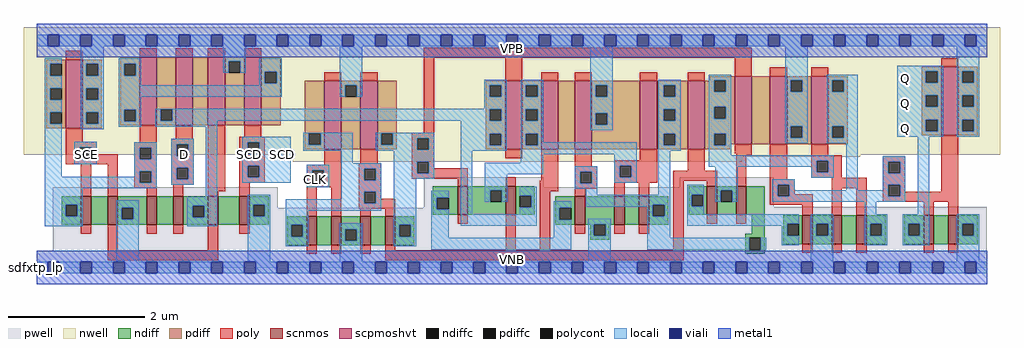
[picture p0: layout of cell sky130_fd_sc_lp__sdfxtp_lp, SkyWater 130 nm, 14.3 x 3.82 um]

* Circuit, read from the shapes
.subckt sky130_fd_sc_lp__sdfxtp_lp CLK D SCD SCE VGND VNB VPB VPWR Q
XM1 n1 SCE n2 VNB sky130_fd_pr__nfet_01v8 w=0.42 l=0.15
XM2 VGND SCE n1 VNB sky130_fd_pr__nfet_01v8 w=0.42 l=0.15
XM3 n3 n2 VGND VNB sky130_fd_pr__nfet_01v8 w=0.42 l=0.15
XM4 n4 D n3 VNB sky130_fd_pr__nfet_01v8 w=0.42 l=0.15
XM5 n5 SCE n4 VNB sky130_fd_pr__nfet_01v8 w=0.42 l=0.15
XM6 VGND SCD n5 VNB sky130_fd_pr__nfet_01v8 w=0.42 l=0.15
XM7 n6 CLK n7 VNB sky130_fd_pr__nfet_01v8 w=0.42 l=0.15
XM8 VGND CLK n6 VNB sky130_fd_pr__nfet_01v8 w=0.42 l=0.15
XM9 n8 n7 VGND VNB sky130_fd_pr__nfet_01v8 w=0.42 l=0.15
XM10 n9 n7 n8 VNB sky130_fd_pr__nfet_01v8 w=0.42 l=0.15
XM11 n10 n9 n11 VNB sky130_fd_pr__nfet_01v8 w=0.42 l=0.15
XM12 n4 n7 n10 VNB sky130_fd_pr__nfet_01v8 w=0.42 l=0.15
XM13 VGND n12 n11 VNB sky130_fd_pr__nfet_01v8 w=0.42 l=0.15
XM14 n13 n10 VGND VNB sky130_fd_pr__nfet_01v8 w=0.42 l=0.15
XM15 n12 n10 n13 VNB sky130_fd_pr__nfet_01v8 w=0.42 l=0.15
XM16 n14 n7 n15 VNB sky130_fd_pr__nfet_01v8 w=0.42 l=0.15
XM17 n12 n9 n14 VNB sky130_fd_pr__nfet_01v8 w=0.42 l=0.15
XM18 VGND n16 n15 VNB sky130_fd_pr__nfet_01v8 w=0.42 l=0.15
XM19 n17 n14 VGND VNB sky130_fd_pr__nfet_01v8 w=0.42 l=0.15
XM20 n16 n14 n17 VNB sky130_fd_pr__nfet_01v8 w=0.42 l=0.15
XM21 n18 n16 Q VNB sky130_fd_pr__nfet_01v8 w=0.42 l=0.15
XM22 VGND n16 n18 VNB sky130_fd_pr__nfet_01v8 w=0.42 l=0.15
XM23 VPWR SCE n2 VPB sky130_fd_pr__pfet_01v8_hvt w=1 l=0.25
XM24 n4 n2 n19 VPB sky130_fd_pr__pfet_01v8_hvt w=1 l=0.25
XM25 n20 D n4 VPB sky130_fd_pr__pfet_01v8_hvt w=1 l=0.25
XM26 VPWR SCE n20 VPB sky130_fd_pr__pfet_01v8_hvt w=1 l=0.25
XM27 n19 SCD VPWR VPB sky130_fd_pr__pfet_01v8_hvt w=1 l=0.25
XM28 VPWR CLK n7 VPB sky130_fd_pr__pfet_01v8_hvt w=1 l=0.25
XM29 n9 n7 VPWR VPB sky130_fd_pr__pfet_01v8_hvt w=1 l=0.25
XM30 n10 n9 n4 VPB sky130_fd_pr__pfet_01v8_hvt w=1 l=0.25
XM31 n21 n7 n10 VPB sky130_fd_pr__pfet_01v8_hvt w=1 l=0.25
XM32 VPWR n12 n21 VPB sky130_fd_pr__pfet_01v8_hvt w=1 l=0.25
XM33 n12 n10 VPWR VPB sky130_fd_pr__pfet_01v8_hvt w=1 l=0.25
XM34 n14 n7 n12 VPB sky130_fd_pr__pfet_01v8_hvt w=1 l=0.25
XM35 n22 n9 n14 VPB sky130_fd_pr__pfet_01v8_hvt w=1 l=0.25
XM36 VPWR n16 n22 VPB sky130_fd_pr__pfet_01v8_hvt w=1 l=0.25
XM37 n16 n14 VPWR VPB sky130_fd_pr__pfet_01v8_hvt w=1 l=0.25
XM38 VPWR n16 Q VPB sky130_fd_pr__pfet_01v8_hvt w=1 l=0.25
.ends

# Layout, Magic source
magic
tech sky130A
magscale 1 2
<< nwell >>
rect -38 331 2822 704
rect 749 325 2412 331
rect 749 311 2066 325
<< pwell >>
rect 1134 235 1485 265
rect 1884 235 2159 265
rect 46 176 705 235
rect 1134 179 2159 235
rect 1134 176 2783 179
rect 46 49 2783 176
rect 0 0 2784 49
<< scnmos >>
rect 129 125 159 209
rect 207 125 237 209
rect 321 125 351 209
rect 399 125 429 209
rect 501 125 531 209
rect 593 125 623 209
rect 1233 155 1263 239
rect 1373 155 1403 239
rect 790 66 820 150
rect 862 66 892 150
rect 948 66 978 150
rect 1020 66 1050 150
rect 1576 125 1606 209
rect 1692 125 1722 209
rect 1764 125 1794 209
rect 1963 155 1993 239
rect 2049 155 2079 239
rect 2243 69 2273 153
rect 2329 69 2359 153
rect 2401 69 2431 153
rect 2598 69 2628 153
rect 2670 69 2700 153
<< scpmoshvt >>
rect 84 409 134 609
rect 301 417 351 617
rect 407 417 457 617
rect 501 417 551 617
rect 607 417 657 617
rect 842 347 892 547
rect 948 347 998 547
rect 1372 347 1422 547
rect 1478 347 1528 547
rect 1576 347 1626 547
rect 1767 347 1817 547
rect 1907 347 1957 547
rect 2045 361 2095 561
rect 2148 361 2198 561
rect 2269 361 2319 561
rect 2650 388 2700 588
<< ndiff >>
rect 72 184 129 209
rect 72 150 84 184
rect 118 150 129 184
rect 72 125 129 150
rect 159 125 207 209
rect 237 176 321 209
rect 237 142 248 176
rect 282 142 321 176
rect 237 125 321 142
rect 351 125 399 209
rect 429 181 501 209
rect 429 147 456 181
rect 490 147 501 181
rect 429 125 501 147
rect 531 125 593 209
rect 623 184 679 209
rect 623 150 634 184
rect 668 150 679 184
rect 1160 205 1233 239
rect 1160 171 1172 205
rect 1206 171 1233 205
rect 1160 155 1233 171
rect 1263 227 1373 239
rect 1263 193 1328 227
rect 1362 193 1373 227
rect 1263 155 1373 193
rect 1403 211 1459 239
rect 1403 177 1414 211
rect 1448 177 1459 211
rect 1403 155 1459 177
rect 623 125 679 150
rect 733 125 790 150
rect 733 91 745 125
rect 779 91 790 125
rect 733 66 790 91
rect 820 66 862 150
rect 892 113 948 150
rect 892 79 903 113
rect 937 79 948 113
rect 892 66 948 79
rect 978 66 1020 150
rect 1050 125 1106 150
rect 1050 91 1061 125
rect 1095 91 1106 125
rect 1050 66 1106 91
rect 1519 175 1576 209
rect 1519 141 1531 175
rect 1565 141 1576 175
rect 1519 125 1576 141
rect 1606 127 1692 209
rect 1606 125 1632 127
rect 1621 93 1632 125
rect 1666 125 1692 127
rect 1722 125 1764 209
rect 1794 184 1850 209
rect 1794 150 1805 184
rect 1839 150 1850 184
rect 1794 125 1850 150
rect 1666 93 1677 125
rect 1621 81 1677 93
rect 1910 214 1963 239
rect 1910 180 1918 214
rect 1952 180 1963 214
rect 1910 155 1963 180
rect 1993 227 2049 239
rect 1993 193 2004 227
rect 2038 193 2049 227
rect 1993 155 2049 193
rect 2079 155 2133 239
rect 2094 99 2133 155
rect 2075 87 2133 99
rect 2075 53 2087 87
rect 2121 53 2133 87
rect 2187 128 2243 153
rect 2187 94 2198 128
rect 2232 94 2243 128
rect 2187 69 2243 94
rect 2273 128 2329 153
rect 2273 94 2284 128
rect 2318 94 2329 128
rect 2273 69 2329 94
rect 2359 69 2401 153
rect 2431 128 2487 153
rect 2431 94 2442 128
rect 2476 94 2487 128
rect 2431 69 2487 94
rect 2541 128 2598 153
rect 2541 94 2553 128
rect 2587 94 2598 128
rect 2541 69 2598 94
rect 2628 69 2670 153
rect 2700 128 2757 153
rect 2700 94 2711 128
rect 2745 94 2757 128
rect 2700 69 2757 94
rect 2075 41 2133 53
<< pdiff >>
rect 27 597 84 609
rect 27 563 39 597
rect 73 563 84 597
rect 27 526 84 563
rect 27 492 39 526
rect 73 492 84 526
rect 27 455 84 492
rect 27 421 39 455
rect 73 421 84 455
rect 27 409 84 421
rect 134 597 190 609
rect 134 563 145 597
rect 179 563 190 597
rect 134 526 190 563
rect 134 492 145 526
rect 179 492 190 526
rect 134 455 190 492
rect 134 421 145 455
rect 179 421 190 455
rect 134 409 190 421
rect 244 597 301 617
rect 244 563 256 597
rect 290 563 301 597
rect 244 463 301 563
rect 244 429 256 463
rect 290 429 301 463
rect 244 417 301 429
rect 351 464 407 617
rect 351 430 362 464
rect 396 430 407 464
rect 351 417 407 430
rect 457 417 501 617
rect 551 605 607 617
rect 551 571 562 605
rect 596 571 607 605
rect 551 417 607 571
rect 657 574 714 617
rect 657 540 668 574
rect 702 540 714 574
rect 657 417 714 540
rect 785 394 842 547
rect 785 360 797 394
rect 831 360 842 394
rect 785 347 842 360
rect 892 535 948 547
rect 892 501 903 535
rect 937 501 948 535
rect 892 347 948 501
rect 998 394 1055 547
rect 2593 576 2650 588
rect 1972 549 2045 561
rect 1972 547 1984 549
rect 998 360 1009 394
rect 1043 360 1055 394
rect 998 347 1055 360
rect 1315 535 1372 547
rect 1315 501 1327 535
rect 1361 501 1372 535
rect 1315 464 1372 501
rect 1315 430 1327 464
rect 1361 430 1372 464
rect 1315 393 1372 430
rect 1315 359 1327 393
rect 1361 359 1372 393
rect 1315 347 1372 359
rect 1422 535 1478 547
rect 1422 501 1433 535
rect 1467 501 1478 535
rect 1422 464 1478 501
rect 1422 430 1433 464
rect 1467 430 1478 464
rect 1422 393 1478 430
rect 1422 359 1433 393
rect 1467 359 1478 393
rect 1422 347 1478 359
rect 1528 347 1576 547
rect 1626 535 1767 547
rect 1626 501 1637 535
rect 1671 501 1767 535
rect 1626 453 1767 501
rect 1626 419 1637 453
rect 1671 419 1767 453
rect 1626 347 1767 419
rect 1817 535 1907 547
rect 1817 501 1837 535
rect 1871 501 1907 535
rect 1817 464 1907 501
rect 1817 430 1837 464
rect 1871 430 1907 464
rect 1817 393 1907 430
rect 1817 359 1837 393
rect 1871 359 1907 393
rect 1817 347 1907 359
rect 1957 515 1984 547
rect 2018 515 2045 549
rect 1957 471 2045 515
rect 1957 437 1984 471
rect 2018 437 2045 471
rect 1957 393 2045 437
rect 1957 359 1984 393
rect 2018 361 2045 393
rect 2095 361 2148 561
rect 2198 549 2269 561
rect 2198 515 2209 549
rect 2243 515 2269 549
rect 2198 415 2269 515
rect 2198 381 2209 415
rect 2243 381 2269 415
rect 2198 361 2269 381
rect 2319 549 2376 561
rect 2319 515 2330 549
rect 2364 515 2376 549
rect 2319 415 2376 515
rect 2319 381 2330 415
rect 2364 381 2376 415
rect 2593 542 2605 576
rect 2639 542 2650 576
rect 2593 505 2650 542
rect 2593 471 2605 505
rect 2639 471 2650 505
rect 2593 434 2650 471
rect 2593 400 2605 434
rect 2639 400 2650 434
rect 2593 388 2650 400
rect 2700 576 2757 588
rect 2700 542 2711 576
rect 2745 542 2757 576
rect 2700 505 2757 542
rect 2700 471 2711 505
rect 2745 471 2757 505
rect 2700 434 2757 471
rect 2700 400 2711 434
rect 2745 400 2757 434
rect 2700 388 2757 400
rect 2319 361 2376 381
rect 2018 359 2030 361
rect 1957 347 2030 359
<< ndiffc >>
rect 84 150 118 184
rect 248 142 282 176
rect 456 147 490 181
rect 634 150 668 184
rect 1172 171 1206 205
rect 1328 193 1362 227
rect 1414 177 1448 211
rect 745 91 779 125
rect 903 79 937 113
rect 1061 91 1095 125
rect 1531 141 1565 175
rect 1632 93 1666 127
rect 1805 150 1839 184
rect 1918 180 1952 214
rect 2004 193 2038 227
rect 2087 53 2121 87
rect 2198 94 2232 128
rect 2284 94 2318 128
rect 2442 94 2476 128
rect 2553 94 2587 128
rect 2711 94 2745 128
<< pdiffc >>
rect 39 563 73 597
rect 39 492 73 526
rect 39 421 73 455
rect 145 563 179 597
rect 145 492 179 526
rect 145 421 179 455
rect 256 563 290 597
rect 256 429 290 463
rect 362 430 396 464
rect 562 571 596 605
rect 668 540 702 574
rect 797 360 831 394
rect 903 501 937 535
rect 1009 360 1043 394
rect 1327 501 1361 535
rect 1327 430 1361 464
rect 1327 359 1361 393
rect 1433 501 1467 535
rect 1433 430 1467 464
rect 1433 359 1467 393
rect 1637 501 1671 535
rect 1637 419 1671 453
rect 1837 501 1871 535
rect 1837 430 1871 464
rect 1837 359 1871 393
rect 1984 515 2018 549
rect 1984 437 2018 471
rect 1984 359 2018 393
rect 2209 515 2243 549
rect 2209 381 2243 415
rect 2330 515 2364 549
rect 2330 381 2364 415
rect 2605 542 2639 576
rect 2605 471 2639 505
rect 2605 400 2639 434
rect 2711 542 2745 576
rect 2711 471 2745 505
rect 2711 400 2745 434
<< poly >>
rect 84 609 134 635
rect 301 617 351 643
rect 407 617 457 643
rect 501 617 551 643
rect 607 617 657 643
rect 1134 615 2095 645
rect 842 547 892 573
rect 948 547 998 573
rect 84 369 134 409
rect 84 353 175 369
rect 301 367 351 417
rect 407 377 457 417
rect 84 319 125 353
rect 159 333 175 353
rect 285 351 351 367
rect 159 319 237 333
rect 84 303 237 319
rect 129 209 159 303
rect 207 209 237 303
rect 285 317 301 351
rect 335 317 351 351
rect 285 283 351 317
rect 285 249 301 283
rect 335 249 351 283
rect 285 233 351 249
rect 393 361 459 377
rect 393 327 409 361
rect 443 327 459 361
rect 393 293 459 327
rect 393 259 409 293
rect 443 259 459 293
rect 393 243 459 259
rect 321 209 351 233
rect 399 209 429 243
rect 501 224 551 417
rect 607 383 657 417
rect 593 367 667 383
rect 593 333 617 367
rect 651 333 667 367
rect 1134 395 1164 615
rect 1372 547 1422 615
rect 1478 547 1528 573
rect 1576 547 1626 573
rect 1767 547 1817 573
rect 1907 547 1957 573
rect 2045 561 2095 615
rect 2650 588 2700 614
rect 2148 561 2198 587
rect 2269 561 2319 587
rect 1098 379 1164 395
rect 593 299 667 333
rect 842 302 892 347
rect 948 306 998 347
rect 1098 345 1114 379
rect 1148 345 1164 379
rect 1098 311 1164 345
rect 1372 321 1422 347
rect 593 265 617 299
rect 651 265 667 299
rect 593 249 667 265
rect 790 286 892 302
rect 790 252 806 286
rect 840 252 892 286
rect 501 209 531 224
rect 593 209 623 249
rect 790 236 892 252
rect 790 150 820 236
rect 862 150 892 236
rect 943 290 1009 306
rect 943 256 959 290
rect 993 256 1009 290
rect 1098 277 1114 311
rect 1148 291 1164 311
rect 1148 277 1263 291
rect 1098 261 1263 277
rect 943 222 1009 256
rect 1233 239 1263 261
rect 1373 239 1403 265
rect 1478 254 1528 347
rect 943 188 959 222
rect 993 202 1009 222
rect 993 188 1050 202
rect 943 172 1050 188
rect 948 150 978 172
rect 1020 150 1050 172
rect 1474 224 1528 254
rect 1576 297 1626 347
rect 1767 315 1817 347
rect 1692 299 1817 315
rect 1576 281 1642 297
rect 1576 247 1592 281
rect 1626 247 1642 281
rect 1576 231 1642 247
rect 1692 265 1708 299
rect 1742 265 1817 299
rect 1907 284 1957 347
rect 2045 335 2095 361
rect 2049 330 2095 335
rect 1692 249 1817 265
rect 1865 254 1993 284
rect 129 99 159 125
rect 207 51 237 125
rect 321 99 351 125
rect 399 99 429 125
rect 501 51 531 125
rect 593 99 623 125
rect 1233 129 1263 155
rect 207 21 531 51
rect 790 40 820 66
rect 862 40 892 66
rect 948 40 978 66
rect 1020 51 1050 66
rect 1373 51 1403 155
rect 1474 51 1504 224
rect 1576 209 1606 231
rect 1692 209 1722 249
rect 1764 209 1794 249
rect 1576 99 1606 125
rect 1692 99 1722 125
rect 1764 99 1794 125
rect 1865 51 1895 254
rect 1963 239 1993 254
rect 2049 239 2079 330
rect 2148 259 2198 361
rect 2269 329 2319 361
rect 2269 313 2359 329
rect 2269 279 2285 313
rect 2319 279 2359 313
rect 2269 263 2359 279
rect 2479 311 2545 327
rect 2479 277 2495 311
rect 2529 277 2545 311
rect 2148 243 2221 259
rect 2148 209 2171 243
rect 2205 215 2221 243
rect 2329 233 2431 263
rect 2205 209 2273 215
rect 2148 185 2273 209
rect 1963 129 1993 155
rect 2049 129 2079 155
rect 2243 153 2273 185
rect 2329 153 2359 233
rect 2401 153 2431 233
rect 2479 243 2545 277
rect 2479 209 2495 243
rect 2529 223 2545 243
rect 2650 223 2700 388
rect 2529 209 2700 223
rect 2479 193 2700 209
rect 2598 153 2628 193
rect 2670 153 2700 193
rect 1020 21 1895 51
rect 2243 43 2273 69
rect 2329 43 2359 69
rect 2401 43 2431 69
rect 2598 43 2628 69
rect 2670 43 2700 69
<< polycont >>
rect 125 319 159 353
rect 301 317 335 351
rect 301 249 335 283
rect 409 327 443 361
rect 409 259 443 293
rect 617 333 651 367
rect 1114 345 1148 379
rect 617 265 651 299
rect 806 252 840 286
rect 959 256 993 290
rect 1114 277 1148 311
rect 959 188 993 222
rect 1592 247 1626 281
rect 1708 265 1742 299
rect 2285 279 2319 313
rect 2495 277 2529 311
rect 2171 209 2205 243
rect 2495 209 2529 243
<< locali >>
rect 0 649 31 683
rect 65 649 127 683
rect 161 649 223 683
rect 257 649 319 683
rect 353 649 415 683
rect 449 649 511 683
rect 545 649 607 683
rect 641 649 703 683
rect 737 649 799 683
rect 833 649 895 683
rect 929 649 991 683
rect 1025 649 1087 683
rect 1121 649 1183 683
rect 1217 649 1279 683
rect 1313 649 1375 683
rect 1409 649 1471 683
rect 1505 649 1567 683
rect 1601 649 1663 683
rect 1697 649 1759 683
rect 1793 649 1855 683
rect 1889 649 1951 683
rect 1985 649 2047 683
rect 2081 649 2143 683
rect 2177 649 2239 683
rect 2273 649 2335 683
rect 2369 649 2431 683
rect 2465 649 2527 683
rect 2561 649 2623 683
rect 2657 649 2719 683
rect 2753 649 2784 683
rect 23 597 73 613
rect 23 563 39 597
rect 23 526 73 563
rect 23 492 39 526
rect 23 455 73 492
rect 23 421 39 455
rect 23 267 73 421
rect 129 597 195 649
rect 129 563 145 597
rect 179 563 195 597
rect 129 526 195 563
rect 129 492 145 526
rect 179 492 195 526
rect 129 455 195 492
rect 129 421 145 455
rect 179 421 195 455
rect 129 405 195 421
rect 240 597 306 613
rect 240 563 256 597
rect 290 563 306 597
rect 546 605 612 649
rect 546 571 562 605
rect 596 571 612 605
rect 652 574 718 613
rect 240 535 306 563
rect 652 540 668 574
rect 702 540 718 574
rect 652 535 718 540
rect 240 501 718 535
rect 887 535 953 649
rect 887 501 903 535
rect 937 501 953 535
rect 1311 535 1377 551
rect 1311 501 1327 535
rect 1361 501 1377 535
rect 240 463 306 501
rect 1311 465 1377 501
rect 240 429 256 463
rect 290 429 306 463
rect 240 413 306 429
rect 346 464 1377 465
rect 346 430 362 464
rect 396 431 1327 464
rect 396 430 529 431
rect 346 413 529 430
rect 109 353 175 369
rect 109 319 125 353
rect 159 319 175 353
rect 109 303 175 319
rect 285 351 351 367
rect 285 317 301 351
rect 335 317 351 351
rect 285 283 351 317
rect 285 267 301 283
rect 23 249 301 267
rect 335 249 351 283
rect 23 233 351 249
rect 393 361 459 377
rect 393 327 409 361
rect 443 327 459 361
rect 393 293 459 327
rect 393 259 409 293
rect 443 259 459 293
rect 393 243 459 259
rect 23 184 134 233
rect 495 207 529 413
rect 1242 430 1327 431
rect 1361 430 1377 464
rect 781 394 926 395
rect 601 367 743 383
rect 601 333 617 367
rect 651 333 743 367
rect 781 360 797 394
rect 831 360 926 394
rect 781 343 926 360
rect 993 394 1164 395
rect 993 360 1009 394
rect 1043 379 1164 394
rect 1043 360 1114 379
rect 993 345 1114 360
rect 1148 345 1164 379
rect 993 343 1164 345
rect 601 299 743 333
rect 892 306 926 343
rect 1045 311 1164 343
rect 601 265 617 299
rect 651 265 743 299
rect 601 249 743 265
rect 790 286 856 302
rect 790 252 806 286
rect 840 252 856 286
rect 790 236 856 252
rect 892 290 1009 306
rect 892 256 959 290
rect 993 256 1009 290
rect 892 222 1009 256
rect 23 150 84 184
rect 118 150 134 184
rect 23 121 134 150
rect 232 176 298 197
rect 232 142 248 176
rect 282 142 298 176
rect 232 17 298 142
rect 440 181 529 207
rect 440 147 456 181
rect 490 147 529 181
rect 440 121 529 147
rect 618 184 684 213
rect 892 200 959 222
rect 618 150 634 184
rect 668 150 684 184
rect 618 17 684 150
rect 729 188 959 200
rect 993 188 1009 222
rect 729 166 1009 188
rect 1045 277 1114 311
rect 1148 277 1164 311
rect 1045 261 1164 277
rect 1242 393 1377 430
rect 1242 359 1327 393
rect 1361 359 1377 393
rect 1242 343 1377 359
rect 1417 535 1483 551
rect 1417 501 1433 535
rect 1467 501 1483 535
rect 1417 464 1483 501
rect 1417 430 1433 464
rect 1467 430 1483 464
rect 1417 393 1483 430
rect 1621 535 1687 649
rect 1621 501 1637 535
rect 1671 501 1687 535
rect 1621 453 1687 501
rect 1621 419 1637 453
rect 1671 419 1687 453
rect 1621 403 1687 419
rect 1821 535 1887 551
rect 1821 501 1837 535
rect 1871 501 1887 535
rect 1821 464 1887 501
rect 1821 430 1837 464
rect 1871 430 1887 464
rect 1417 359 1433 393
rect 1467 367 1483 393
rect 1821 393 1887 430
rect 1467 359 1758 367
rect 729 125 795 166
rect 729 91 745 125
rect 779 91 795 125
rect 729 62 795 91
rect 887 113 953 130
rect 887 79 903 113
rect 937 79 953 113
rect 887 17 953 79
rect 1045 125 1111 261
rect 1045 91 1061 125
rect 1095 91 1111 125
rect 1045 62 1111 91
rect 1156 205 1206 225
rect 1156 171 1172 205
rect 1156 87 1206 171
rect 1242 157 1276 343
rect 1417 333 1758 359
rect 1417 307 1483 333
rect 1312 273 1483 307
rect 1692 299 1758 333
rect 1576 281 1642 297
rect 1312 227 1378 273
rect 1576 247 1592 281
rect 1626 247 1642 281
rect 1692 265 1708 299
rect 1742 265 1758 299
rect 1692 249 1758 265
rect 1821 359 1837 393
rect 1871 359 1887 393
rect 1821 343 1887 359
rect 1968 549 2034 565
rect 1968 515 1984 549
rect 2018 515 2034 549
rect 1968 471 2034 515
rect 1968 437 1984 471
rect 2018 437 2034 471
rect 1968 393 2034 437
rect 1968 359 1984 393
rect 2018 359 2034 393
rect 2193 549 2259 649
rect 2521 576 2655 592
rect 2193 515 2209 549
rect 2243 515 2259 549
rect 2193 415 2259 515
rect 2193 381 2209 415
rect 2243 381 2259 415
rect 2193 365 2259 381
rect 2314 549 2405 565
rect 2314 515 2330 549
rect 2364 515 2405 549
rect 2314 415 2405 515
rect 2314 381 2330 415
rect 2364 381 2405 415
rect 2521 542 2605 576
rect 2639 542 2655 576
rect 2521 505 2655 542
rect 2521 471 2605 505
rect 2639 471 2655 505
rect 2521 434 2655 471
rect 2521 400 2605 434
rect 2639 400 2655 434
rect 2521 384 2655 400
rect 2695 576 2761 649
rect 2695 542 2711 576
rect 2745 542 2761 576
rect 2695 505 2761 542
rect 2695 471 2711 505
rect 2745 471 2761 505
rect 2695 434 2761 471
rect 2695 400 2711 434
rect 2745 400 2761 434
rect 2695 384 2761 400
rect 2314 365 2405 381
rect 1312 193 1328 227
rect 1362 193 1378 227
rect 1414 211 1464 237
rect 1576 231 1642 247
rect 1448 177 1464 211
rect 1608 213 1642 231
rect 1821 213 1855 343
rect 1968 329 2034 359
rect 1968 313 2335 329
rect 1968 295 2285 313
rect 1414 157 1464 177
rect 1242 123 1464 157
rect 1515 175 1565 195
rect 1608 184 1855 213
rect 1608 179 1805 184
rect 1515 141 1531 175
rect 1789 150 1805 179
rect 1839 150 1855 184
rect 1515 87 1565 141
rect 1156 53 1565 87
rect 1616 127 1682 143
rect 1616 93 1632 127
rect 1666 93 1682 127
rect 1616 17 1682 93
rect 1789 87 1855 150
rect 1906 214 1954 243
rect 1906 180 1918 214
rect 1952 180 1954 214
rect 1988 227 2054 295
rect 2269 279 2285 295
rect 2319 279 2335 313
rect 2269 263 2335 279
rect 1988 193 2004 227
rect 2038 193 2054 227
rect 2155 243 2221 259
rect 2155 209 2171 243
rect 2205 227 2221 243
rect 2371 227 2405 365
rect 2479 311 2545 327
rect 2479 277 2495 311
rect 2529 277 2545 311
rect 2479 243 2545 277
rect 2479 227 2495 243
rect 2205 209 2495 227
rect 2529 209 2545 243
rect 2155 193 2545 209
rect 1906 157 1954 180
rect 2426 157 2460 193
rect 2581 157 2615 384
rect 1906 128 2232 157
rect 1906 123 2198 128
rect 2182 94 2198 123
rect 1789 53 2087 87
rect 2121 53 2137 87
rect 2182 65 2232 94
rect 2268 128 2334 157
rect 2268 94 2284 128
rect 2318 94 2334 128
rect 2268 17 2334 94
rect 2426 128 2492 157
rect 2426 94 2442 128
rect 2476 94 2492 128
rect 2426 65 2492 94
rect 2537 128 2615 157
rect 2537 94 2553 128
rect 2587 94 2615 128
rect 2537 65 2615 94
rect 2695 128 2761 157
rect 2695 94 2711 128
rect 2745 94 2761 128
rect 2695 17 2761 94
rect 0 -17 31 17
rect 65 -17 127 17
rect 161 -17 223 17
rect 257 -17 319 17
rect 353 -17 415 17
rect 449 -17 511 17
rect 545 -17 607 17
rect 641 -17 703 17
rect 737 -17 799 17
rect 833 -17 895 17
rect 929 -17 991 17
rect 1025 -17 1087 17
rect 1121 -17 1183 17
rect 1217 -17 1279 17
rect 1313 -17 1375 17
rect 1409 -17 1471 17
rect 1505 -17 1567 17
rect 1601 -17 1663 17
rect 1697 -17 1759 17
rect 1793 -17 1855 17
rect 1889 -17 1951 17
rect 1985 -17 2047 17
rect 2081 -17 2143 17
rect 2177 -17 2239 17
rect 2273 -17 2335 17
rect 2369 -17 2431 17
rect 2465 -17 2527 17
rect 2561 -17 2623 17
rect 2657 -17 2719 17
rect 2753 -17 2784 17
<< viali >>
rect 31 649 65 683
rect 127 649 161 683
rect 223 649 257 683
rect 319 649 353 683
rect 415 649 449 683
rect 511 649 545 683
rect 607 649 641 683
rect 703 649 737 683
rect 799 649 833 683
rect 895 649 929 683
rect 991 649 1025 683
rect 1087 649 1121 683
rect 1183 649 1217 683
rect 1279 649 1313 683
rect 1375 649 1409 683
rect 1471 649 1505 683
rect 1567 649 1601 683
rect 1663 649 1697 683
rect 1759 649 1793 683
rect 1855 649 1889 683
rect 1951 649 1985 683
rect 2047 649 2081 683
rect 2143 649 2177 683
rect 2239 649 2273 683
rect 2335 649 2369 683
rect 2431 649 2465 683
rect 2527 649 2561 683
rect 2623 649 2657 683
rect 2719 649 2753 683
rect 31 -17 65 17
rect 127 -17 161 17
rect 223 -17 257 17
rect 319 -17 353 17
rect 415 -17 449 17
rect 511 -17 545 17
rect 607 -17 641 17
rect 703 -17 737 17
rect 799 -17 833 17
rect 895 -17 929 17
rect 991 -17 1025 17
rect 1087 -17 1121 17
rect 1183 -17 1217 17
rect 1279 -17 1313 17
rect 1375 -17 1409 17
rect 1471 -17 1505 17
rect 1567 -17 1601 17
rect 1663 -17 1697 17
rect 1759 -17 1793 17
rect 1855 -17 1889 17
rect 1951 -17 1985 17
rect 2047 -17 2081 17
rect 2143 -17 2177 17
rect 2239 -17 2273 17
rect 2335 -17 2369 17
rect 2431 -17 2465 17
rect 2527 -17 2561 17
rect 2623 -17 2657 17
rect 2719 -17 2753 17
<< metal1 >>
rect 0 683 2784 715
rect 0 649 31 683
rect 65 649 127 683
rect 161 649 223 683
rect 257 649 319 683
rect 353 649 415 683
rect 449 649 511 683
rect 545 649 607 683
rect 641 649 703 683
rect 737 649 799 683
rect 833 649 895 683
rect 929 649 991 683
rect 1025 649 1087 683
rect 1121 649 1183 683
rect 1217 649 1279 683
rect 1313 649 1375 683
rect 1409 649 1471 683
rect 1505 649 1567 683
rect 1601 649 1663 683
rect 1697 649 1759 683
rect 1793 649 1855 683
rect 1889 649 1951 683
rect 1985 649 2047 683
rect 2081 649 2143 683
rect 2177 649 2239 683
rect 2273 649 2335 683
rect 2369 649 2431 683
rect 2465 649 2527 683
rect 2561 649 2623 683
rect 2657 649 2719 683
rect 2753 649 2784 683
rect 0 617 2784 649
rect 0 17 2784 49
rect 0 -17 31 17
rect 65 -17 127 17
rect 161 -17 223 17
rect 257 -17 319 17
rect 353 -17 415 17
rect 449 -17 511 17
rect 545 -17 607 17
rect 641 -17 703 17
rect 737 -17 799 17
rect 833 -17 895 17
rect 929 -17 991 17
rect 1025 -17 1087 17
rect 1121 -17 1183 17
rect 1217 -17 1279 17
rect 1313 -17 1375 17
rect 1409 -17 1471 17
rect 1505 -17 1567 17
rect 1601 -17 1663 17
rect 1697 -17 1759 17
rect 1793 -17 1855 17
rect 1889 -17 1951 17
rect 1985 -17 2047 17
rect 2081 -17 2143 17
rect 2177 -17 2239 17
rect 2273 -17 2335 17
rect 2369 -17 2431 17
rect 2465 -17 2527 17
rect 2561 -17 2623 17
rect 2657 -17 2719 17
rect 2753 -17 2784 17
rect 0 -49 2784 -17
<< labels >>
flabel pwell s 0 0 2784 49 0 FreeSans 200 0 0 0 VNB
port 6 nsew ground bidirectional
flabel nwell s 0 617 2784 666 0 FreeSans 200 0 0 0 VPB
port 7 nsew power bidirectional
rlabel comment s 0 0 0 0 4 sdfxtp_lp
flabel metal1 s 0 617 2784 666 0 FreeSans 340 0 0 0 VPWR
port 8 nsew power bidirectional
flabel metal1 s 0 0 2784 49 0 FreeSans 340 0 0 0 VGND
port 5 nsew ground bidirectional
flabel locali s 607 316 641 350 0 FreeSans 340 0 0 0 SCD
port 3 nsew signal input
flabel locali s 703 316 737 350 0 FreeSans 340 0 0 0 SCD
port 3 nsew signal input
flabel locali s 415 316 449 350 0 FreeSans 340 0 0 0 D
port 2 nsew signal input
flabel locali s 127 316 161 350 0 FreeSans 340 0 0 0 SCE
port 4 nsew signal input
flabel locali s 2527 390 2561 424 0 FreeSans 340 0 0 0 Q
port 9 nsew signal output
flabel locali s 2527 464 2561 498 0 FreeSans 340 0 0 0 Q
port 9 nsew signal output
flabel locali s 2527 538 2561 572 0 FreeSans 340 0 0 0 Q
port 9 nsew signal output
flabel locali s 799 242 833 276 0 FreeSans 340 0 0 0 CLK
port 1 nsew clock input
<< properties >>
string LEFsite unit
string LEFclass CORE
string FIXED_BBOX 0 0 2784 666
string GDS_FILE $PDKPATH/libs.ref/sky130_fd_sc_lp/gds/sky130_fd_sc_lp.gds
string LEFsymmetry X Y R90
string GDS_END 4019450
string GDS_START 4002594
<< end >>
